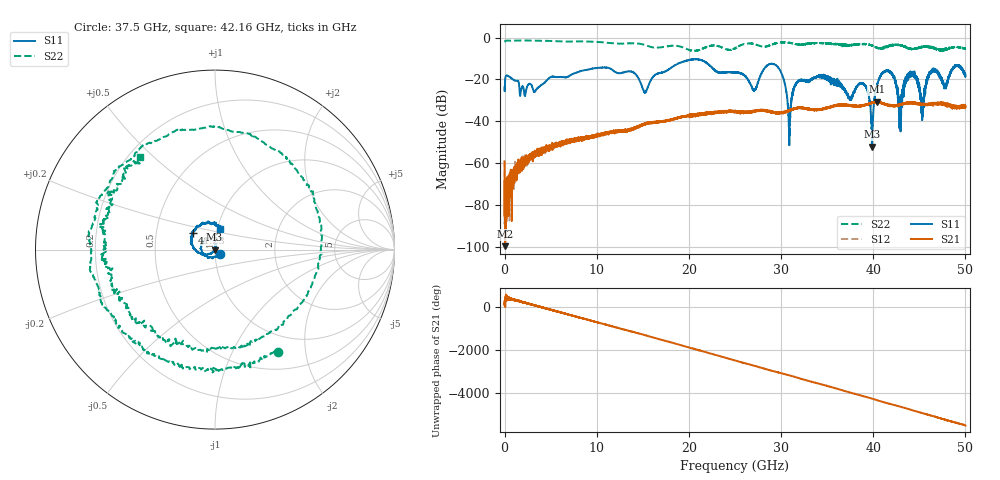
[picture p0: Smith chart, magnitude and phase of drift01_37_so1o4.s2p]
!Created with skrf (http://scikit-rf.org).
# Hz S RI R 50.0
!freq ReS11 ImS11 ReS21 ImS21 ReS12 ImS12 ReS22 ImS22
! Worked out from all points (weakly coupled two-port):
!   10001 points, 300 kHz to 50 GHz, reference 50 ohm
!   highest |S21| = -30.61 dB at 40.39 GHz (marker M1); lowest = -99.8 dB at 60.3 MHz (marker M2)
!   lowest |S11| = -52.2 dB at 39.88 GHz (marker M3), VSWR 1.00, Z = 49.8 - j0.0121 ohm
!   |S11| at or under -10 dB: start of sweep to end of sweep
!   |S22| runs from -6.4 to -1.4 dB; largest |S21 - S12| = 0.0042
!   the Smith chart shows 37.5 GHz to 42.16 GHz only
!   S11 on the Smith chart (normalised r, x): 37.5 GHz: 1.05, -0.05; 41.23 GHz: 0.77, +0.15; 42.16 GHz: 1.02, +0.24
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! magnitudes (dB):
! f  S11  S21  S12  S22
! 300 kHz  -23.8  -59.4  -58.7  -2.1
! 60.3 MHz  -20.0  -99.8  -83.3  -1.6
! 8.335 GHz  -15.9  -49.4  -48.3  -1.8
! 16.67 GHz  -17.1  -40.6  -40.4  -4.8
! 25 GHz  -16.6  -35.1  -35.2  -5.1
! 27.1 GHz  -25.3  -35.1  -35.4  -3.1
! 29.42 GHz  -13.1  -36.0  -36.1  -2.7
! 30.91 GHz  -46.8  -34.7  -34.9  -2.6
! 31.66 GHz  -21.8  -33.6  -33.8  -3.1
! 33.34 GHz  -19.9  -34.4  -34.4  -2.7
! 37.5 GHz  -28.9  -32.6  -32.6  -3.5
! 38.95 GHz  -22.3  -32.5  -32.6  -3.1
! 39.88 GHz  -52.2  -31.4  -31.1  -3.8
! 40.39 GHz  -23.0  -30.6  -30.9  -4.8
! 41.23 GHz  -16.1  -31.9  -31.7  -4.5
! 41.67 GHz  -16.0  -32.4  -32.4  -4.2
! 42.16 GHz  -18.4  -32.8  -32.6  -3.6
! 42.92 GHz  -37.8  -32.0  -32.2  -3.6
! 44.07 GHz  -17.8  -31.2  -31.1  -5.3
! 45.31 GHz  -39.5  -32.0  -32.1  -4.3
! 46.42 GHz  -15.7  -31.3  -31.8  -4.8
! 50 GHz  -17.7  -33.0  -32.9  -5.3
